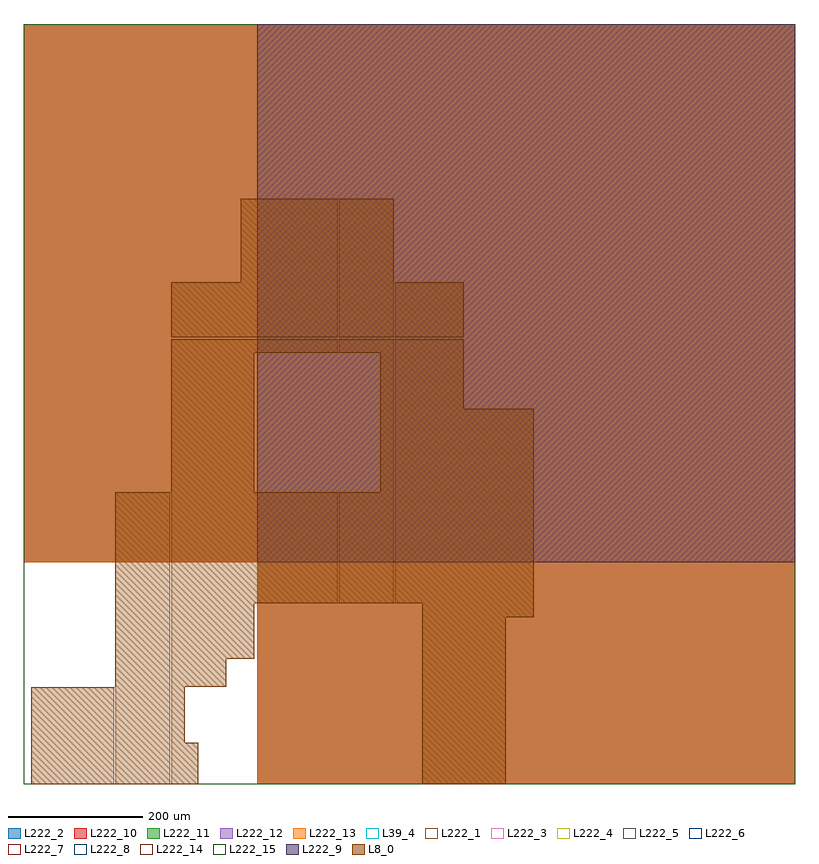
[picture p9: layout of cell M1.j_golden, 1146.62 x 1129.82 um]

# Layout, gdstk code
import gdstk
lib = gdstk.Library(unit=1e-6, precision=1e-09)
def R(c, l, rs):  # rectangles x0, y0, x1, y1
    for r in rs: c.add(gdstk.rectangle(r[:2], r[2:], *l))
L8_0 = (8, 0)
L39_4 = (39, 4)
L222_1 = (222, 1)
L222_2 = (222, 2)
L222_3 = (222, 3)
L222_4 = (222, 4)
L222_5 = (222, 5)
L222_6 = (222, 6)
L222_7 = (222, 7)
L222_8 = (222, 8)
L222_9 = (222, 9)
L222_10 = (222, 10)
L222_11 = (222, 11)
L222_12 = (222, 12)
L222_13 = (222, 13)
L222_14 = (222, 14)
L222_15 = (222, 15)

m1_j_golden = lib.new_cell('M1.j_golden')
R(m1_j_golden, L8_0, [(10.99,0,30.99,20), (31.62,0,51.62,20), (52.72,0,72.72,20), (73.35,0,93.35,20), (94.09,0,114.09,20), (114.72,0,134.72,20), (135.82,0,155.82,20), (156.45,0,176.45,20), (177.16,0,197.16,20), (197.79,0,217.79,20), (218.89,0,238.89,20), (239.52,0,259.52,20), (592.47,0,612.47,20), (613.1,0,633.1,20), (634.2,0,654.2,20), (654.83,0,674.83,20), (675.44,0,695.44,20), (696.07,0,716.07,20), (10.99,20.72,30.99,40.72), (31.62,20.72,51.62,40.72), (52.72,20.72,72.72,40.72), (73.35,20.72,93.35,40.72), (94.09,20.72,114.09,40.72), (114.72,20.72,134.72,40.72), (135.82,20.72,155.82,40.72), (156.45,20.72,176.45,40.72), (177.16,20.72,197.16,40.72), (197.79,20.72,217.79,40.72), (218.89,20.72,238.89,40.72), (239.52,20.72,259.52,40.72), (592.47,20.72,612.47,40.72), (613.1,20.72,633.1,40.72), (634.2,20.72,654.2,40.72), (654.83,20.72,674.83,40.72), (675.44,20.72,695.44,40.72), (696.07,20.72,716.07,40.72), (10.99,41.35,30.99,61.35), (31.62,41.35,51.62,61.35), (52.72,41.35,72.72,61.35), (73.35,41.35,93.35,61.35), (94.09,41.35,114.09,61.35), (114.72,41.35,134.72,61.35), (135.82,41.35,155.82,61.35), (156.45,41.35,176.45,61.35), (177.16,41.35,197.16,61.35), (197.79,41.35,217.79,61.35), (218.89,41.35,238.89,61.35), (239.52,41.35,259.52,61.35), (592.47,41.35,612.47,61.35), (613.1,41.35,633.1,61.35), (634.2,41.35,654.2,61.35), (654.83,41.35,674.83,61.35), (675.44,41.35,695.44,61.35), (696.07,41.35,716.07,61.35), (10.99,62.07,30.99,82.07), (31.62,62.07,51.62,82.07), (52.72,62.07,72.72,82.07), (73.35,62.07,93.35,82.07), (94.09,62.07,114.09,82.07), (114.72,62.07,134.72,82.07), (135.82,62.07,155.82,82.07), (156.45,62.07,176.45,82.07), (177.16,62.07,197.16,82.07), (197.79,62.07,217.79,82.07), (218.89,62.07,238.89,82.07), (592.47,62.07,612.47,82.07), (613.1,62.07,633.1,82.07), (634.2,62.07,654.2,82.07), (654.83,62.07,674.83,82.07), (675.44,62.07,695.44,82.07), (696.07,62.07,716.07,82.07), (10.99,82.78,30.99,102.78), (31.62,82.78,51.62,102.78), (52.72,82.78,72.72,102.78), (73.35,82.78,93.35,102.78), (94.09,82.78,114.09,102.78), (114.72,82.78,134.72,102.78), (135.82,82.78,155.82,102.78), (156.45,82.78,176.45,102.78), (177.16,82.78,197.16,102.78), (197.79,82.78,217.79,102.78), (218.89,82.78,238.89,102.78), (592.47,82.78,612.47,102.78), (613.1,82.78,633.1,102.78), (634.2,82.78,654.2,102.78), (654.83,82.78,674.83,102.78), (675.44,82.78,695.44,102.78), (696.07,82.78,716.07,102.78), (10.99,103.5,30.99,123.5), (31.62,103.5,51.62,123.5), (52.72,103.5,72.72,123.5), (73.35,103.5,93.35,123.5), (94.09,103.5,114.09,123.5), (114.72,103.5,134.72,123.5), (135.82,103.5,155.82,123.5), (156.45,103.5,176.45,123.5), (177.16,103.5,197.16,123.5), (197.79,103.5,217.79,123.5), (218.89,103.5,238.89,123.5), (592.47,103.5,612.47,123.5), (613.1,103.5,633.1,123.5), (634.2,103.5,654.2,123.5), (654.83,103.5,674.83,123.5), (675.44,103.5,695.44,123.5), (696.07,103.5,716.07,123.5), (10.99,124.13,30.99,144.13), (31.62,124.13,51.62,144.13), (52.72,124.13,72.72,144.13), (73.35,124.13,93.35,144.13), (94.09,124.13,114.09,144.13), (114.72,124.13,134.72,144.13), (135.82,124.13,155.82,144.13), (156.45,124.13,176.45,144.13), (177.16,124.13,197.16,144.13), (197.79,124.13,217.79,144.13), (218.89,124.13,238.89,144.13), (592.47,124.13,612.47,144.13), (613.1,124.13,633.1,144.13), (634.2,124.13,654.2,144.13), (654.83,124.13,674.83,144.13), (675.44,124.13,695.44,144.13), (696.07,124.13,716.07,144.13), (135.82,144.85,155.82,164.85), (156.45,144.85,176.45,164.85), (177.16,144.85,197.16,164.85), (197.79,144.85,217.79,164.85), (218.89,144.85,238.89,164.85), (239.52,144.85,259.52,164.85), (260.26,144.85,280.26,164.85), (280.89,144.85,300.89,164.85), (592.47,144.85,612.47,164.85), (613.1,144.85,633.1,164.85), (634.2,144.85,654.2,164.85), (654.83,144.85,674.83,164.85), (675.44,144.85,695.44,164.85), (696.07,144.85,716.07,164.85), (135.82,165.46,155.82,185.46), (156.45,165.46,176.45,185.46), (177.16,165.46,197.16,185.46), (197.79,165.46,217.79,185.46), (218.89,165.46,238.89,185.46), (239.52,165.46,259.52,185.46), (260.26,165.46,280.26,185.46), (280.89,165.46,300.89,185.46), (592.47,165.46,612.47,185.46), (613.1,165.46,633.1,185.46), (634.2,165.46,654.2,185.46), (654.83,165.46,674.83,185.46), (675.44,165.46,695.44,185.46), (696.07,165.46,716.07,185.46), (135.82,186.18,155.82,206.18), (156.45,186.18,176.45,206.18), (177.16,186.18,197.16,206.18), (197.79,186.18,217.79,206.18), (218.89,186.18,238.89,206.18), (239.52,186.18,259.52,206.18), (260.26,186.18,280.26,206.18), (280.89,186.18,300.89,206.18), (301.99,186.18,321.99,206.18), (322.62,186.18,342.62,206.18), (592.47,186.18,612.47,206.18), (613.1,186.18,633.1,206.18), (634.2,186.18,654.2,206.18), (654.83,186.18,674.83,206.18), (675.44,186.18,695.44,206.18), (696.07,186.18,716.07,206.18), (135.82,206.81,155.82,226.81), (156.45,206.81,176.45,226.81), (177.16,206.81,197.16,226.81), (197.79,206.81,217.79,226.81), (218.89,206.81,238.89,226.81), (239.52,206.81,259.52,226.81), (260.26,206.81,280.26,226.81), (280.89,206.81,300.89,226.81), (301.99,206.81,321.99,226.81), (322.62,206.81,342.62,226.81), (592.47,206.81,612.47,226.81), (613.1,206.81,633.1,226.81), (634.2,206.81,654.2,226.81), (654.83,206.81,674.83,226.81), (675.44,206.81,695.44,226.81), (696.07,206.81,716.07,226.81), (135.82,227.53,155.82,247.53), (156.45,227.53,176.45,247.53), (177.16,227.53,197.16,247.53), (197.79,227.53,217.79,247.53), (218.89,227.53,238.89,247.53), (239.52,227.53,259.52,247.53), (260.26,227.53,280.26,247.53), (280.89,227.53,300.89,247.53), (301.99,227.53,321.99,247.53), (322.62,227.53,342.62,247.53), (592.47,227.53,612.47,247.53), (613.1,227.53,633.1,247.53), (634.2,227.53,654.2,247.53), (654.83,227.53,674.83,247.53), (675.44,227.53,695.44,247.53), (696.07,227.53,716.07,247.53), (135.82,248.24,155.82,268.24), (156.45,248.24,176.45,268.24), (177.16,248.24,197.16,268.24), (197.79,248.24,217.79,268.24), (218.89,248.24,238.89,268.24), (239.52,248.24,259.52,268.24), (260.26,248.24,280.26,268.24), (280.89,248.24,300.89,268.24), (301.99,248.24,321.99,268.24), (322.62,248.24,342.62,268.24), (592.47,248.24,612.47,268.24), (613.1,248.24,633.1,268.24), (634.2,248.24,654.2,268.24), (654.83,248.24,674.83,268.24), (675.44,248.24,695.44,268.24), (696.07,248.24,716.07,268.24), (717.17,248.24,737.17,268.24), (737.8,248.24,757.8,268.24), (135.82,268.96,155.82,288.96), (156.45,268.96,176.45,288.96), (177.16,268.96,197.16,288.96), (197.79,268.96,217.79,288.96), (218.89,268.96,238.89,288.96), (239.52,268.96,259.52,288.96), (260.26,268.96,280.26,288.96), (280.89,268.96,300.89,288.96), (301.99,268.96,321.99,288.96), (322.62,268.96,342.62,288.96), (343.23,268.96,363.23,288.96), (363.86,268.96,383.86,288.96), (384.96,268.96,404.96,288.96), (405.59,268.96,425.59,288.96), (426.33,268.96,446.33,288.96), (446.96,268.96,466.96,288.96), (468.06,268.96,488.06,288.96), (488.69,268.96,508.69,288.96), (509.37,268.96,529.37,288.96), (530,268.96,550,288.96), (551.1,268.96,571.1,288.96), (571.73,268.96,591.73,288.96), (592.47,268.96,612.47,288.96), (613.1,268.96,633.1,288.96), (634.2,268.96,654.2,288.96), (654.83,268.96,674.83,288.96), (675.44,268.96,695.44,288.96), (696.07,268.96,716.07,288.96), (717.17,268.96,737.17,288.96), (737.8,268.96,757.8,288.96), (135.82,289.59,155.82,309.59), (156.45,289.59,176.45,309.59), (177.16,289.59,197.16,309.59), (197.79,289.59,217.79,309.59), (218.89,289.59,238.89,309.59), (239.52,289.59,259.52,309.59), (260.26,289.59,280.26,309.59), (280.89,289.59,300.89,309.59), (301.99,289.59,321.99,309.59), (322.62,289.59,342.62,309.59), (343.23,289.59,363.23,309.59), (363.86,289.59,383.86,309.59), (384.96,289.59,404.96,309.59), (405.59,289.59,425.59,309.59), (426.33,289.59,446.33,309.59), (446.96,289.59,466.96,309.59), (468.06,289.59,488.06,309.59), (488.69,289.59,508.69,309.59), (509.37,289.59,529.37,309.59), (530,289.59,550,309.59), (551.1,289.59,571.1,309.59), (571.73,289.59,591.73,309.59), (592.47,289.59,612.47,309.59), (613.1,289.59,633.1,309.59), (634.2,289.59,654.2,309.59), (654.83,289.59,674.83,309.59), (675.44,289.59,695.44,309.59), (696.07,289.59,716.07,309.59), (717.17,289.59,737.17,309.59), (737.8,289.59,757.8,309.59), (135.82,310.31,155.82,330.31), (156.45,310.31,176.45,330.31), (177.16,310.31,197.16,330.31), (197.79,310.31,217.79,330.31), (218.89,310.31,238.89,330.31), (239.52,310.31,259.52,330.31), (260.26,310.31,280.26,330.31), (280.89,310.31,300.89,330.31), (301.99,310.31,321.99,330.31), (322.62,310.31,342.62,330.31), (343.23,310.31,363.23,330.31), (363.86,310.31,383.86,330.31), (384.96,310.31,404.96,330.31), (405.59,310.31,425.59,330.31), (426.33,310.31,446.33,330.31), (446.96,310.31,466.96,330.31), (468.06,310.31,488.06,330.31), (488.69,310.31,508.69,330.31), (509.37,310.31,529.37,330.31), (530,310.31,550,330.31), (551.1,310.31,571.1,330.31), (571.73,310.31,591.73,330.31), (592.47,310.31,612.47,330.31), (613.1,310.31,633.1,330.31), (634.2,310.31,654.2,330.31), (654.83,310.31,674.83,330.31), (675.44,310.31,695.44,330.31), (696.07,310.31,716.07,330.31), (717.17,310.31,737.17,330.31), (737.8,310.31,757.8,330.31), (135.82,330.93,155.82,350.93), (156.45,330.93,176.45,350.93), (177.16,330.93,197.16,350.93), (197.79,330.93,217.79,350.93), (218.89,330.93,238.89,350.93), (239.52,330.93,259.52,350.93), (260.26,330.93,280.26,350.93), (280.89,330.93,300.89,350.93), (301.99,330.93,321.99,350.93), (322.62,330.93,342.62,350.93), (343.23,330.93,363.23,350.93), (363.86,330.93,383.86,350.93), (384.96,330.93,404.96,350.93), (405.59,330.93,425.59,350.93), (426.33,330.93,446.33,350.93), (446.96,330.93,466.96,350.93), (468.06,330.93,488.06,350.93), (488.69,330.93,508.69,350.93), (509.37,330.93,529.37,350.93), (530,330.93,550,350.93), (551.1,330.93,571.1,350.93), (571.73,330.93,591.73,350.93), (592.47,330.93,612.47,350.93), (613.1,330.93,633.1,350.93), (634.2,330.93,654.2,350.93), (654.83,330.93,674.83,350.93), (675.44,330.93,695.44,350.93), (696.07,330.93,716.07,350.93), (717.17,330.93,737.17,350.93), (737.8,330.93,757.8,350.93), (135.82,351.65,155.82,371.65), (156.45,351.65,176.45,371.65), (177.16,351.65,197.16,371.65), (197.79,351.65,217.79,371.65), (218.89,351.65,238.89,371.65), (239.52,351.65,259.52,371.65), (260.26,351.65,280.26,371.65), (280.89,351.65,300.89,371.65), (301.99,351.65,321.99,371.65), (322.62,351.65,342.62,371.65), (343.23,351.65,363.23,371.65), (363.86,351.65,383.86,371.65), (384.96,351.65,404.96,371.65), (405.59,351.65,425.59,371.65), (426.33,351.65,446.33,371.65), (446.96,351.65,466.96,371.65), (468.06,351.65,488.06,371.65), (488.69,351.65,508.69,371.65), (509.37,351.65,529.37,371.65), (530,351.65,550,371.65), (551.1,351.65,571.1,371.65), (571.73,351.65,591.73,371.65), (592.47,351.65,612.47,371.65), (613.1,351.65,633.1,371.65), (634.2,351.65,654.2,371.65), (654.83,351.65,674.83,371.65), (675.44,351.65,695.44,371.65), (696.07,351.65,716.07,371.65), (717.17,351.65,737.17,371.65), (737.8,351.65,757.8,371.65), (135.82,372.28,155.82,392.28), (156.45,372.28,176.45,392.28), (177.16,372.28,197.16,392.28), (197.79,372.28,217.79,392.28), (218.89,372.28,238.89,392.28), (239.52,372.28,259.52,392.28), (260.26,372.28,280.26,392.28), (280.89,372.28,300.89,392.28), (301.99,372.28,321.99,392.28), (322.62,372.28,342.62,392.28), (343.23,372.28,363.23,392.28), (363.86,372.28,383.86,392.28), (384.96,372.28,404.96,392.28), (405.59,372.28,425.59,392.28), (426.33,372.28,446.33,392.28), (446.96,372.28,466.96,392.28), (468.06,372.28,488.06,392.28), (488.69,372.28,508.69,392.28), (509.37,372.28,529.37,392.28), (530,372.28,550,392.28), (551.1,372.28,571.1,392.28), (571.73,372.28,591.73,392.28), (592.47,372.28,612.47,392.28), (613.1,372.28,633.1,392.28), (634.2,372.28,654.2,392.28), (654.83,372.28,674.83,392.28), (675.44,372.28,695.44,392.28), (696.07,372.28,716.07,392.28), (717.17,372.28,737.17,392.28), (737.8,372.28,757.8,392.28), (135.82,393,155.82,413), (156.45,393,176.45,413), (177.16,393,197.16,413), (197.79,393,217.79,413), (218.89,393,238.89,413), (239.52,393,259.52,413), (260.26,393,280.26,413), (280.89,393,300.89,413), (301.99,393,321.99,413), (322.62,393,342.62,413), (343.23,393,363.23,413), (363.86,393,383.86,413), (384.96,393,404.96,413), (405.59,393,425.59,413), (426.33,393,446.33,413), (446.96,393,466.96,413), (468.06,393,488.06,413), (488.69,393,508.69,413), (509.37,393,529.37,413), (530,393,550,413), (551.1,393,571.1,413), (571.73,393,591.73,413), (592.47,393,612.47,413), (613.1,393,633.1,413), (634.2,393,654.2,413), (654.83,393,674.83,413), (675.44,393,695.44,413), (696.07,393,716.07,413), (717.17,393,737.17,413), (737.8,393,757.8,413), (135.82,413.71,155.82,433.71), (156.45,413.71,176.45,433.71), (177.16,413.71,197.16,433.71), (197.79,413.71,217.79,433.71), (218.89,413.71,238.89,433.71), (239.52,413.71,259.52,433.71), (260.26,413.71,280.26,433.71), (280.89,413.71,300.89,433.71), (301.99,413.71,321.99,433.71), (322.62,413.71,342.62,433.71), (343.23,413.71,363.23,433.71), (363.86,413.71,383.86,433.71), (384.96,413.71,404.96,433.71), (405.59,413.71,425.59,433.71), (426.33,413.71,446.33,433.71), (446.96,413.71,466.96,433.71), (468.06,413.71,488.06,433.71), (488.69,413.71,508.69,433.71), (509.37,413.71,529.37,433.71), (530,413.71,550,433.71), (551.1,413.71,571.1,433.71), (571.73,413.71,591.73,433.71), (592.47,413.71,612.47,433.71), (613.1,413.71,633.1,433.71), (634.2,413.71,654.2,433.71), (654.83,413.71,674.83,433.71), (675.44,413.71,695.44,433.71), (696.07,413.71,716.07,433.71), (717.17,413.71,737.17,433.71), (737.8,413.71,757.8,433.71), (218.89,434.43,238.89,454.43), (239.52,434.43,259.52,454.43), (260.26,434.43,280.26,454.43), (280.89,434.43,300.89,454.43), (301.99,434.43,321.99,454.43), (322.62,434.43,342.62,454.43), (530,434.43,550,454.43), (551.1,434.43,571.1,454.43), (571.73,434.43,591.73,454.43), (592.47,434.43,612.47,454.43), (613.1,434.43,633.1,454.43), (634.2,434.43,654.2,454.43), (654.83,434.43,674.83,454.43), (675.44,434.43,695.44,454.43), (696.07,434.43,716.07,454.43), (717.17,434.43,737.17,454.43), (737.8,434.43,757.8,454.43), (218.89,455.06,238.89,475.06), (239.52,455.06,259.52,475.06), (260.26,455.06,280.26,475.06), (280.89,455.06,300.89,475.06), (301.99,455.06,321.99,475.06), (322.62,455.06,342.62,475.06), (530,455.06,550,475.06), (551.1,455.06,571.1,475.06), (571.73,455.06,591.73,475.06), (592.47,455.06,612.47,475.06), (613.1,455.06,633.1,475.06), (634.2,455.06,654.2,475.06), (654.83,455.06,674.83,475.06), (675.44,455.06,695.44,475.06), (696.07,455.06,716.07,475.06), (717.17,455.06,737.17,475.06), (737.8,455.06,757.8,475.06), (218.89,475.78,238.89,495.78), (239.52,475.78,259.52,495.78), (260.26,475.78,280.26,495.78), (280.89,475.78,300.89,495.78), (301.99,475.78,321.99,495.78), (322.62,475.78,342.62,495.78), (530,475.78,550,495.78), (551.1,475.78,571.1,495.78), (571.73,475.78,591.73,495.78), (592.47,475.78,612.47,495.78), (613.1,475.78,633.1,495.78), (634.2,475.78,654.2,495.78), (654.83,475.78,674.83,495.78), (675.44,475.78,695.44,495.78), (696.07,475.78,716.07,495.78), (717.17,475.78,737.17,495.78), (737.8,475.78,757.8,495.78), (218.89,496.39,238.89,516.39), (239.52,496.39,259.52,516.39), (260.26,496.39,280.26,516.39), (280.89,496.39,300.89,516.39), (301.99,496.39,321.99,516.39), (322.62,496.39,342.62,516.39), (530,496.39,550,516.39), (551.1,496.39,571.1,516.39), (571.73,496.39,591.73,516.39), (592.47,496.39,612.47,516.39), (613.1,496.39,633.1,516.39), (634.2,496.39,654.2,516.39), (654.83,496.39,674.83,516.39), (675.44,496.39,695.44,516.39), (696.07,496.39,716.07,516.39), (717.17,496.39,737.17,516.39), (737.8,496.39,757.8,516.39), (218.89,517.11,238.89,537.11), (239.52,517.11,259.52,537.11), (260.26,517.11,280.26,537.11), (280.89,517.11,300.89,537.11), (301.99,517.11,321.99,537.11), (322.62,517.11,342.62,537.11), (530,517.11,550,537.11), (551.1,517.11,571.1,537.11), (571.73,517.11,591.73,537.11), (592.47,517.11,612.47,537.11), (613.1,517.11,633.1,537.11), (634.2,517.11,654.2,537.11), (654.83,517.11,674.83,537.11), (675.44,517.11,695.44,537.11), (696.07,517.11,716.07,537.11), (717.17,517.11,737.17,537.11), (737.8,517.11,757.8,537.11), (218.89,537.74,238.89,557.74), (239.52,537.74,259.52,557.74), (260.26,537.74,280.26,557.74), (280.89,537.74,300.89,557.74), (301.99,537.74,321.99,557.74), (322.62,537.74,342.62,557.74), (530,537.74,550,557.74), (551.1,537.74,571.1,557.74), (571.73,537.74,591.73,557.74), (592.47,537.74,612.47,557.74), (613.1,537.74,633.1,557.74), (634.2,537.74,654.2,557.74), (654.83,537.74,674.83,557.74), (675.44,537.74,695.44,557.74), (696.07,537.74,716.07,557.74), (717.17,537.74,737.17,557.74), (737.8,537.74,757.8,557.74), (218.89,558.46,238.89,578.46), (239.52,558.46,259.52,578.46), (260.26,558.46,280.26,578.46), (280.89,558.46,300.89,578.46), (301.99,558.46,321.99,578.46), (322.62,558.46,342.62,578.46), (530,558.46,550,578.46), (551.1,558.46,571.1,578.46), (571.73,558.46,591.73,578.46), (592.47,558.46,612.47,578.46), (613.1,558.46,633.1,578.46), (634.2,558.46,654.2,578.46), (218.89,579.17,238.89,599.17), (239.52,579.17,259.52,599.17), (260.26,579.17,280.26,599.17), (280.89,579.17,300.89,599.17), (301.99,579.17,321.99,599.17), (322.62,579.17,342.62,599.17), (530,579.17,550,599.17), (551.1,579.17,571.1,599.17), (571.73,579.17,591.73,599.17), (592.47,579.17,612.47,599.17), (613.1,579.17,633.1,599.17), (634.2,579.17,654.2,599.17), (218.89,599.89,238.89,619.89), (239.52,599.89,259.52,619.89), (260.26,599.89,280.26,619.89), (280.89,599.89,300.89,619.89), (301.99,599.89,321.99,619.89), (322.62,599.89,342.62,619.89), (530,599.89,550,619.89), (551.1,599.89,571.1,619.89), (571.73,599.89,591.73,619.89), (592.47,599.89,612.47,619.89), (613.1,599.89,633.1,619.89), (634.2,599.89,654.2,619.89), (218.89,620.52,238.89,640.52), (239.52,620.52,259.52,640.52), (260.26,620.52,280.26,640.52), (280.89,620.52,300.89,640.52), (301.99,620.52,321.99,640.52), (322.62,620.52,342.62,640.52), (530,620.52,550,640.52), (551.1,620.52,571.1,640.52), (571.73,620.52,591.73,640.52), (592.47,620.52,612.47,640.52), (613.1,620.52,633.1,640.52), (634.2,620.52,654.2,640.52), (218.89,641.24,238.89,661.24), (239.52,641.24,259.52,661.24), (260.26,641.24,280.26,661.24), (280.89,641.24,300.89,661.24), (301.99,641.24,321.99,661.24), (322.62,641.24,342.62,661.24), (343.23,641.24,363.23,661.24), (363.86,641.24,383.86,661.24), (384.96,641.24,404.96,661.24), (405.59,641.24,425.59,661.24), (426.33,641.24,446.33,661.24), (446.96,641.24,466.96,661.24), (468.06,641.24,488.06,661.24), (488.69,641.24,508.69,661.24), (509.37,641.24,529.37,661.24), (530,641.24,550,661.24), (551.1,641.24,571.1,661.24), (571.73,641.24,591.73,661.24), (592.47,641.24,612.47,661.24), (613.1,641.24,633.1,661.24), (634.2,641.24,654.2,661.24), (218.89,664.07,238.89,684.07), (239.52,664.07,259.52,684.07), (260.26,664.07,280.26,684.07), (280.89,664.07,300.89,684.07), (301.99,664.07,321.99,684.07), (322.62,664.07,342.62,684.07), (343.23,664.07,363.23,684.07), (363.86,664.07,383.86,684.07), (384.96,664.07,404.96,684.07), (405.59,664.07,425.59,684.07), (426.33,664.07,446.33,684.07), (446.96,664.07,466.96,684.07), (468.06,664.07,488.06,684.07), (488.69,664.07,508.69,684.07), (509.37,664.07,529.37,684.07), (530,664.07,550,684.07), (551.1,664.07,571.1,684.07), (571.73,664.07,591.73,684.07), (592.47,664.07,612.47,684.07), (613.1,664.07,633.1,684.07), (634.2,664.07,654.2,684.07), (218.89,684.79,238.89,704.79), (239.52,684.79,259.52,704.79), (260.26,684.79,280.26,704.79), (280.89,684.79,300.89,704.79), (301.99,684.79,321.99,704.79), (322.62,684.79,342.62,704.79), (343.23,684.79,363.23,704.79), (363.86,684.79,383.86,704.79), (384.96,684.79,404.96,704.79), (405.59,684.79,425.59,704.79), (426.33,684.79,446.33,704.79), (446.96,684.79,466.96,704.79), (468.06,684.79,488.06,704.79), (488.69,684.79,508.69,704.79), (509.37,684.79,529.37,704.79), (530,684.79,550,704.79), (551.1,684.79,571.1,704.79), (571.73,684.79,591.73,704.79), (592.47,684.79,612.47,704.79), (613.1,684.79,633.1,704.79), (634.2,684.79,654.2,704.79), (218.89,705.42,238.89,725.42), (239.52,705.42,259.52,725.42), (260.26,705.42,280.26,725.42), (280.89,705.42,300.89,725.42), (301.99,705.42,321.99,725.42), (322.62,705.42,342.62,725.42), (343.23,705.42,363.23,725.42), (363.86,705.42,383.86,725.42), (384.96,705.42,404.96,725.42), (405.59,705.42,425.59,725.42), (426.33,705.42,446.33,725.42), (446.96,705.42,466.96,725.42), (468.06,705.42,488.06,725.42), (488.69,705.42,508.69,725.42), (509.37,705.42,529.37,725.42), (530,705.42,550,725.42), (551.1,705.42,571.1,725.42), (571.73,705.42,591.73,725.42), (592.47,705.42,612.47,725.42), (613.1,705.42,633.1,725.42), (634.2,705.42,654.2,725.42), (218.89,726.14,238.89,746.14), (239.52,726.14,259.52,746.14), (260.26,726.14,280.26,746.14), (280.89,726.14,300.89,746.14), (301.99,726.14,321.99,746.14), (322.62,726.14,342.62,746.14), (343.23,726.14,363.23,746.14), (363.86,726.14,383.86,746.14), (384.96,726.14,404.96,746.14), (405.59,726.14,425.59,746.14), (426.33,726.14,446.33,746.14), (446.96,726.14,466.96,746.14), (468.06,726.14,488.06,746.14), (488.69,726.14,508.69,746.14), (509.37,726.14,529.37,746.14), (530,726.14,550,746.14), (551.1,726.14,571.1,746.14), (571.73,726.14,591.73,746.14), (592.47,726.14,612.47,746.14), (613.1,726.14,633.1,746.14), (634.2,726.14,654.2,746.14), (322.62,746.85,342.62,766.85), (343.23,746.85,363.23,766.85), (363.86,746.85,383.86,766.85), (384.96,746.85,404.96,766.85), (405.59,746.85,425.59,766.85), (426.33,746.85,446.33,766.85), (446.96,746.85,466.96,766.85), (468.06,746.85,488.06,766.85), (488.69,746.85,508.69,766.85), (509.37,746.85,529.37,766.85), (530,746.85,550,766.85), (322.62,767.57,342.62,787.57), (343.23,767.57,363.23,787.57), (363.86,767.57,383.86,787.57), (384.96,767.57,404.96,787.57), (405.59,767.57,425.59,787.57), (426.33,767.57,446.33,787.57), (446.96,767.57,466.96,787.57), (468.06,767.57,488.06,787.57), (488.69,767.57,508.69,787.57), (509.37,767.57,529.37,787.57), (530,767.57,550,787.57), (322.62,788.2,342.62,808.2), (343.23,788.2,363.23,808.2), (363.86,788.2,383.86,808.2), (384.96,788.2,404.96,808.2), (405.59,788.2,425.59,808.2), (426.33,788.2,446.33,808.2), (446.96,788.2,466.96,808.2), (468.06,788.2,488.06,808.2), (488.69,788.2,508.69,808.2), (509.37,788.2,529.37,808.2), (530,788.2,550,808.2), (322.62,808.92,342.62,828.92), (343.23,808.92,363.23,828.92), (363.86,808.92,383.86,828.92), (384.96,808.92,404.96,828.92), (405.59,808.92,425.59,828.92), (426.33,808.92,446.33,828.92), (446.96,808.92,466.96,828.92), (468.06,808.92,488.06,828.92), (488.69,808.92,508.69,828.92), (509.37,808.92,529.37,828.92), (530,808.92,550,828.92), (322.62,829.53,342.62,849.53), (343.23,829.53,363.23,849.53), (363.86,829.53,383.86,849.53), (384.96,829.53,404.96,849.53), (405.59,829.53,425.59,849.53), (426.33,829.53,446.33,849.53), (446.96,829.53,466.96,849.53), (468.06,829.53,488.06,849.53), (488.69,829.53,508.69,849.53), (509.37,829.53,529.37,849.53), (530,829.53,550,849.53), (322.62,850.25,342.62,870.25), (343.23,850.25,363.23,870.25), (363.86,850.25,383.86,870.25), (384.96,850.25,404.96,870.25), (405.59,850.25,425.59,870.25), (426.33,850.25,446.33,870.25), (446.96,850.25,466.96,870.25), (468.06,850.25,488.06,870.25), (488.69,850.25,508.69,870.25), (509.37,850.25,529.37,870.25), (530,850.25,550,870.25)])
R(m1_j_golden, L39_4, [(0,0,1146.62,1129.82)])
R(m1_j_golden, L222_1, [(0,0,1146.62,1129.82)])
R(m1_j_golden, L222_2, [(346.62,0,1146.62,800), (0,329.82,800,1129.82), (346.62,329.82,1146.62,1129.82)])
R(m1_j_golden, L222_3, [(0,0,1146.62,1129.82)])
R(m1_j_golden, L222_4, [(0,0,1146.62,1129.82)])
R(m1_j_golden, L222_5, [(0,0,1146.62,1129.82)])
R(m1_j_golden, L222_6, [(0,0,1146.62,1129.82)])
R(m1_j_golden, L222_7, [(0,0,1146.62,1129.82)])
R(m1_j_golden, L222_8, [(0,0,1146.62,1129.82)])
R(m1_j_golden, L222_9, [(346.62,329.82,1146.62,1129.82)])
R(m1_j_golden, L222_10, [(346.62,0,1146.62,800), (0,329.82,800,1129.82), (346.62,329.82,1146.62,1129.82)])
R(m1_j_golden, L222_11, [(346.62,0,1146.62,800), (0,329.82,800,1129.82), (346.62,329.82,1146.62,1129.82)])
R(m1_j_golden, L222_12, [(346.62,0,1146.62,800), (0,329.82,800,1129.82), (346.62,329.82,1146.62,1129.82)])
R(m1_j_golden, L222_13, [(346.62,0,1146.62,800), (0,329.82,800,1129.82), (346.62,329.82,1146.62,1129.82)])
R(m1_j_golden, L222_14, [(0,0,1146.62,1129.82)])
R(m1_j_golden, L222_15, [(0,0,1146.62,1129.82)])

lib.write_gds('M1.j_golden.gds')
